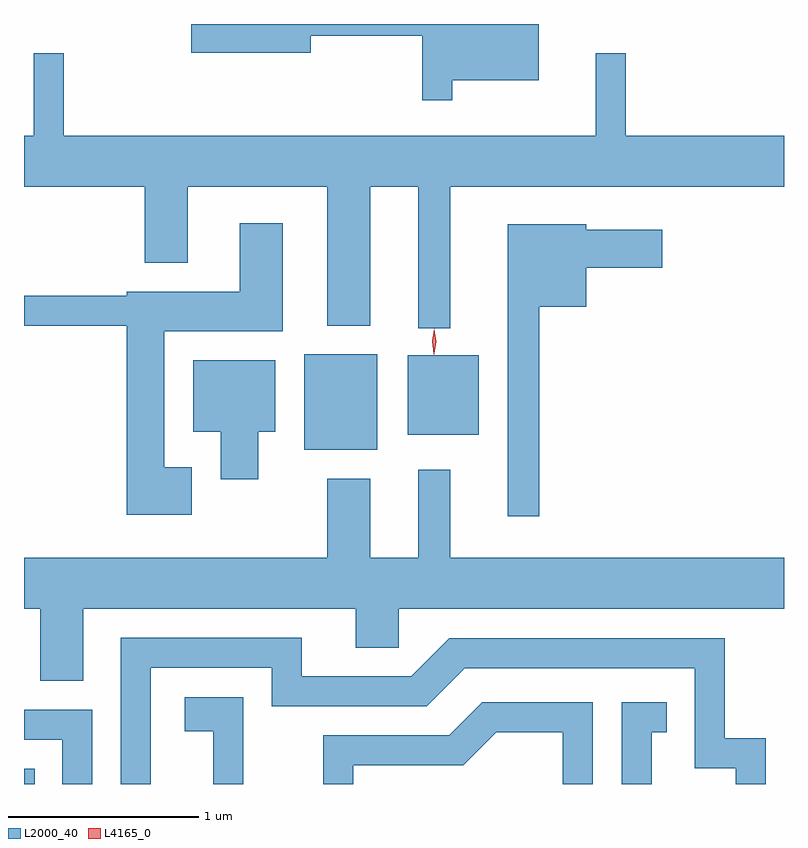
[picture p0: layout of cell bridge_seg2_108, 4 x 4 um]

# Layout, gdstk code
import gdstk
lib = gdstk.Library(unit=1e-6, precision=1e-09)
def R(c, l, rs):  # rectangles x0, y0, x1, y1
    for r in rs: c.add(gdstk.rectangle(r[:2], r[2:], *l))
def P(c, l, *ps):  # polygons
    for p in ps: c.add(gdstk.Polygon(p, *l))
L2000_40 = (2000, 40)
L4165_0 = (4165, 0)

bridge_seg2_108 = lib.new_cell('bridge_seg2_108')
R(bridge_seg2_108, L2000_40, [(907.396,1045.173,907.453,1045.254), (908.871,1046.931,909.254,1047.434), (909.416,1047.011,909.789,1047.429)])
P(bridge_seg2_108, L2000_40, [(909.649,1048.876),(910.104,1048.876),(910.104,1049.173),(908.276,1049.173),(908.276,1049.021),(908.904,1049.021),(908.904,1049.111),(909.491,1049.111),(909.491,1048.773),(909.649,1048.773)],
  [(909.639,1048.316),(911.396,1048.316),(911.396,1048.584),(910.564,1048.584),(910.564,1049.018),(910.406,1049.018),(910.406,1048.584),(907.604,1048.584),(907.604,1049.018),(907.446,1049.018),(907.446,1048.584),(907.396,1048.584),(907.396,1048.316),(908.031,1048.316),(908.031,1047.916),(908.259,1047.916),(908.259,1048.316),(908.991,1048.316),(908.991,1047.586),(909.219,1047.586),(909.219,1048.316),(909.471,1048.316),(909.471,1047.573),(909.639,1047.573)],
  [(908.279,1046.839),(908.134,1046.839),(908.134,1047.556),(908.759,1047.556),(908.759,1048.124),(908.531,1048.124),(908.531,1047.764),(907.936,1047.764),(907.936,1047.744),(907.396,1047.744),(907.396,1047.586),(907.936,1047.586),(907.936,1046.591),(908.279,1046.591)],
  [(910.109,1047.686),(910.354,1047.686),(910.354,1047.891),(910.754,1047.891),(910.754,1048.089),(910.354,1048.089),(910.354,1048.119),(909.941,1048.119),(909.941,1046.583),(910.109,1046.583)],
  [(908.629,1047.026),(908.719,1047.026),(908.719,1047.404),(908.286,1047.404),(908.286,1047.026),(908.431,1047.026),(908.431,1046.776),(908.629,1046.776)],
  [(907.709,1046.096),(909.141,1046.096),(909.141,1045.891),(909.369,1045.891),(909.369,1046.096),(911.396,1046.096),(911.396,1046.364),(909.639,1046.364),(909.639,1046.828),(909.471,1046.828),(909.471,1046.364),(909.219,1046.364),(909.219,1046.779),(908.991,1046.779),(908.991,1046.364),(907.396,1046.364),(907.396,1046.096),(907.481,1046.096),(907.481,1045.716),(907.709,1045.716)],
  [(908.064,1045.786),(908.701,1045.786),(908.701,1045.581),(909.517,1045.581),(909.717,1045.781),(910.926,1045.781),(910.926,1045.256),(911.141,1045.256),(911.141,1045.173),(911.299,1045.173),(911.299,1045.414),(911.084,1045.414),(911.084,1045.939),(909.634,1045.939),(909.434,1045.739),(908.859,1045.739),(908.859,1045.944),(907.906,1045.944),(907.906,1045.173),(908.064,1045.173)],
  [(908.549,1045.629),(908.241,1045.629),(908.241,1045.451),(908.391,1045.451),(908.391,1045.173),(908.549,1045.173)],
  [(909.129,1045.271),(909.707,1045.271),(909.882,1045.446),(910.231,1045.446),(910.231,1045.173),(910.389,1045.173),(910.389,1045.604),(909.809,1045.604),(909.634,1045.429),(908.971,1045.429),(908.971,1045.173),(909.129,1045.173)],
  [(910.699,1045.446),(910.778,1045.446),(910.778,1045.604),(910.541,1045.604),(910.541,1045.173),(910.699,1045.173)],
  [(907.754,1045.564),(907.396,1045.564),(907.396,1045.406),(907.596,1045.406),(907.596,1045.173),(907.754,1045.173)])
P(bridge_seg2_108, L4165_0, [(909.553,1047.434),(909.544,1047.502),(909.554,1047.57),(909.555,1047.57),(909.555,1047.57),(909.564,1047.502),(909.554,1047.434),(909.554,1047.434)],
  [(909.556,1047.438),(909.556,1047.438),(909.546,1047.502),(909.555,1047.566),(909.555,1047.567),(909.556,1047.566),(909.565,1047.502),(909.556,1047.438)])

lib.write_gds('bridge_seg2_108.gds')
